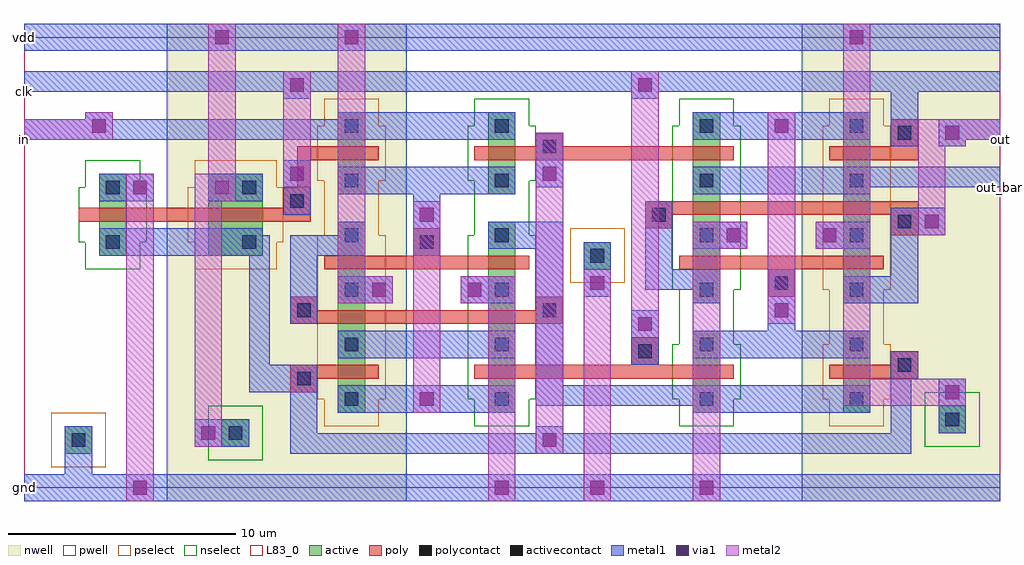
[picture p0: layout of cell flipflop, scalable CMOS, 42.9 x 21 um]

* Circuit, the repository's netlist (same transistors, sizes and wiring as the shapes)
.SUBCKT dlatch din dout dout_bar clk clk_bar vdd gnd
M1 din clk int1 vdd p w=1.2u l=0.6u
M2 din clk_bar int1 gnd n w=1.2u l=0.6u
M3 dout_bar int1 vdd vdd p w=1.2u l=0.6u
M4 dout_bar int1 gnd gnd n w=1.2u l=0.6u
M5 dout dout_bar vdd vdd p w=1.2u l=0.6u
M6 dout dout_bar gnd gnd n w=1.2u l=0.6u
M7 int1 clk_bar dout vdd p w=1.2u l=0.6u
M8 int1 clk dout gnd n w=1.2u l=0.6u
.ENDS dlatch

.SUBCKT flipflop in out out_bar clk vdd gnd
M1 clk_bar clk vdd vdd p w=2.4u l=0.6u
M2 clk_bar clk gnd gnd n w=1.2u l=0.6u 
Xmaster in mout mout_bar clk clk_bar vdd gnd dlatch
Xslave mout_bar out_bar out clk_bar clk vdd gnd dlatch
.ENDS flipflop

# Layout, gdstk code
import gdstk
lib = gdstk.Library(unit=1e-6, precision=1e-09)
def R(c, l, rs):  # rectangles x0, y0, x1, y1
    for r in rs: c.add(gdstk.rectangle(r[:2], r[2:], *l))
def A(c, l, x, y, w, h, nx, ny, dx, dy):  # array of equal rectangles
    R(c, l, [(x+i*dx, y+j*dy, x+i*dx+w, y+j*dy+h) for i in range(nx) for j in range(ny)])
pwell = (41, 0)
nwell = (42, 0)
active = (43, 0)
pselect = (44, 0)
nselect = (45, 0)
poly = (46, 0)
polycontact = (47, 0)
activecontact = (48, 0)
metal1 = (49, 0)
via1 = (50, 0)
metal2 = (51, 0)
L83_0 = (83, 0)

flipflop = lib.new_cell('flipflop')
R(flipflop, pwell, [(0,-0.6,6.3,20.4), (16.8,-0.6,34.2,20.4)])
R(flipflop, nwell, [(6.3,-0.6,16.8,20.4), (34.2,-0.6,42.9,20.4)])
R(flipflop, active, [(1.8,1.5,3,2.7), (8.7,1.8,9.9,3), (40.2,2.4,41.4,3.6), (13.8,3.3,15,11.7), (20.4,3.3,21.6,11.7), (29.4,3.3,30.6,6.9), (36,3.3,37.2,6.9), (29.4,8.1,30.6,16.5), (36,8.1,37.2,16.5), (24.6,9.6,25.8,10.8), (3.3,10.2,4.5,13.8), (8.1,10.2,10.5,13.8), (13.8,12.9,15,16.5), (20.4,12.9,21.6,16.5)])
R(flipflop, pselect, [(1.2,0.9,3.6,3.3), (13.2,2.7,15.6,3.9), (35.4,2.7,37.8,3.9), (12.9,3.9,15.9,11.1), (35.1,3.9,38.1,6.3), (35.4,6.3,37.8,8.7), (35.1,8.7,38.1,15.9), (24,9,26.4,11.4), (7.5,9.6,11.1,10.8), (7.2,10.8,11.4,13.2), (13.2,11.1,15.6,13.5), (7.5,13.2,11.1,14.4), (12.9,13.5,15.9,15.9), (13.2,15.9,15.6,17.1), (35.4,15.9,37.8,17.1)])
R(flipflop, nselect, [(8.1,1.2,10.5,3.6), (39.6,1.8,42,4.2), (19.8,2.7,22.2,3.9), (28.8,2.7,31.2,3.9), (19.5,3.9,22.5,11.1), (28.5,3.9,31.5,6.3), (28.8,6.3,31.2,8.7), (28.5,8.7,31.5,15.9), (2.7,9.6,5.1,10.8), (2.4,10.8,5.4,13.2), (19.8,11.1,22.2,13.5), (2.7,13.2,5.1,14.4), (19.5,13.5,22.5,15.9), (19.8,15.9,22.2,17.1), (28.8,15.9,31.2,17.1)])
R(flipflop, poly, [(11.7,4.2,12.9,4.8), (11.7,4.8,15.6,5.4), (19.8,4.8,31.2,5.4), (35.4,4.8,39.3,5.4), (26.7,5.4,27.9,6.6), (38.1,5.4,39.3,6), (11.7,7.2,23.7,7.8), (11.7,7.8,12.9,8.4), (22.5,7.8,23.7,8.4), (32.7,8.4,33.9,9.6), (13.2,9.6,22.2,10.2), (28.8,9.6,37.8,10.2), (17.1,10.2,18.3,11.4), (38.1,11.1,39.3,12), (27.3,11.4,28.5,12), (2.4,11.7,12.6,12.3), (27.3,12,39.3,12.6), (11.4,12.3,12.6,13.2), (12,13.2,12.6,14.4), (12,14.4,15.6,15), (19.8,14.4,31.2,15), (35.4,14.4,39.3,15), (22.5,15,23.7,15.6), (38.1,15,39.3,16.2)])
R(flipflop, polycontact, [(12,4.5,12.6,5.1), (38.4,5.1,39,5.7), (27,5.7,27.6,6.3), (12,7.5,12.6,8.1), (22.8,7.5,23.4,8.1), (33,8.7,33.6,9.3), (17.4,10.5,18,11.1), (38.4,11.4,39,12), (27.6,11.7,28.2,12.3), (11.7,12.3,12.3,12.9), (22.8,14.7,23.4,15.3), (38.4,15.3,39,15.9)])
A(flipflop, activecontact, 14.1, 3.6, 0.6, 0.6, 1, 6, 0, 2.4)
A(flipflop, activecontact, 20.7, 3.6, 0.6, 0.6, 1, 6, 0, 2.4)
A(flipflop, activecontact, 29.7, 3.6, 0.6, 0.6, 1, 6, 0, 2.4)
A(flipflop, activecontact, 36.3, 3.6, 0.6, 0.6, 1, 6, 0, 2.4)
R(flipflop, activecontact, [(2.1,1.8,2.7,2.4), (9,2.1,9.6,2.7), (40.5,2.7,41.1,3.3), (24.9,9.9,25.5,10.5), (3.6,10.5,4.2,11.1), (9.6,10.5,10.2,11.1), (3.6,12.9,4.2,13.5), (9.6,12.9,10.2,13.5)])
R(flipflop, metal1, [(0,-0.6,42.9,0.6), (1.8,0.6,3,2.7), (11.7,1.5,39,2.4), (7.5,1.8,9.9,3), (11.7,2.4,12.9,4.2), (22.5,2.4,23.7,2.7), (38.1,2.4,39,4.8), (40.2,2.4,41.4,4.8), (13.8,3.3,21.6,4.5), (29.4,3.3,37.2,3.6), (22.5,3.6,37.2,4.5), (9.9,4.2,12.9,5.4), (22.5,4.5,23.7,10.5), (38.1,4.8,39.3,6), (9.9,5.4,10.8,10.2), (26.7,5.4,27.9,7.8), (13.8,5.7,21.6,6.9), (29.4,5.7,37.2,6.9), (32.7,6.9,33.9,9.6), (11.7,7.2,12.9,10.2), (13.8,8.1,16.2,9.3), (19.2,8.1,21.6,9.3), (29.4,8.1,30.6,8.7), (36,8.1,39.3,9.3), (24.6,8.4,25.8,10.8), (27.3,8.7,30.6,9.6), (38.1,9.3,39.3,11.1), (27.3,9.6,28.5,12.6), (3.3,10.2,10.8,11.1), (11.7,10.2,15,11.1), (17.1,10.2,18.3,12.9), (20.4,10.5,23.7,11.7), (29.4,10.5,31.8,11.7), (34.8,10.5,37.2,11.7), (3.3,11.1,10.5,11.4), (13.8,11.1,15,11.7), (38.1,11.1,40.5,12.3), (11.4,12,12.6,14.4), (3.3,12.6,5.7,13.8), (8.1,12.6,10.5,13.8), (13.8,12.9,21.6,14.1), (29.4,12.9,37.2,13.2), (22.5,13.2,23.7,15.6), (29.4,13.2,42.9,14.1), (38.1,15,39.3,17.4), (40.2,15,41.4,15.3), (0,15.3,21.6,16.2), (29.4,15.3,37.2,16.5), (40.2,15.3,42.9,16.2), (2.7,16.2,3.9,16.5), (13.8,16.2,21.6,16.5), (11.4,17.1,12.6,17.4), (26.7,17.1,27.9,17.4), (0,17.4,42.9,18.3), (0,19.2,42.9,20.4)])
R(flipflop, via1, [(4.8,-0.3,5.4,0.3), (20.7,-0.3,21.3,0.3), (24.9,-0.3,25.5,0.3), (29.7,-0.3,30.3,0.3), (22.8,1.8,23.4,2.4), (7.8,2.1,8.4,2.7), (17.4,3.6,18,4.2), (40.5,3.9,41.1,4.5), (27,6.9,27.6,7.5), (33,7.5,33.6,8.1), (15.3,8.4,15.9,9), (19.5,8.4,20.1,9), (24.9,8.7,25.5,9.3), (30.9,10.8,31.5,11.4), (35.1,10.8,35.7,11.4), (39.6,11.4,40.2,12), (17.4,11.7,18,12.3), (4.8,12.9,5.4,13.5), (8.4,12.9,9,13.5), (11.7,13.5,12.3,14.1), (22.8,13.5,23.4,14.1), (40.5,15.3,41.1,15.9), (3,15.6,3.6,16.2), (33,15.6,33.6,16.2), (11.7,17.4,12.3,18), (27,17.4,27.6,18), (8.4,19.5,9,20.1), (14.1,19.5,14.7,20.1), (36.3,19.5,36.9,20.1)])
R(flipflop, metal2, [(4.5,-0.6,5.7,13.8), (20.4,-0.6,21.6,8.1), (24.6,-0.6,25.8,9.6), (29.4,-0.6,30.6,10.5), (22.5,1.5,23.7,15.6), (7.5,1.8,8.7,12.6), (17.1,3.3,18.3,12.6), (36,3.6,41.4,4.8), (36,4.8,37.2,10.5), (26.7,6.6,27.9,18.3), (32.7,7.2,33.9,16.5), (13.8,8.1,16.2,9.3), (19.2,8.1,21.6,9.3), (13.8,9.3,15,20.4), (29.4,10.5,31.8,11.7), (34.8,10.5,37.2,11.7), (39.3,11.1,40.5,15), (36,11.7,37.2,20.4), (7.5,12.6,9.3,13.8), (11.4,13.2,12.6,18.3), (8.1,13.8,9.3,20.4), (39.3,15,41.4,15.3), (0,15.3,3.9,16.2), (39.3,15.3,42.9,16.2), (2.7,16.2,3.9,16.5)])
R(flipflop, L83_0, [(0,0,42.9,19.8)])
flipflop.add(gdstk.Label('out', (42.9,15.3), layer=49, texttype=0))
flipflop.add(gdstk.Label('out_bar', (42.9,13.2), layer=49, texttype=0))
flipflop.add(gdstk.Label('in', (0,15.3), layer=49, texttype=0))
flipflop.add(gdstk.Label('vdd', (0,19.8), layer=49, texttype=0))
flipflop.add(gdstk.Label('gnd', (0,0), layer=49, texttype=0))
flipflop.add(gdstk.Label('clk', (0,17.4), layer=49, texttype=0))

lib.write_gds('flipflop.gds')
